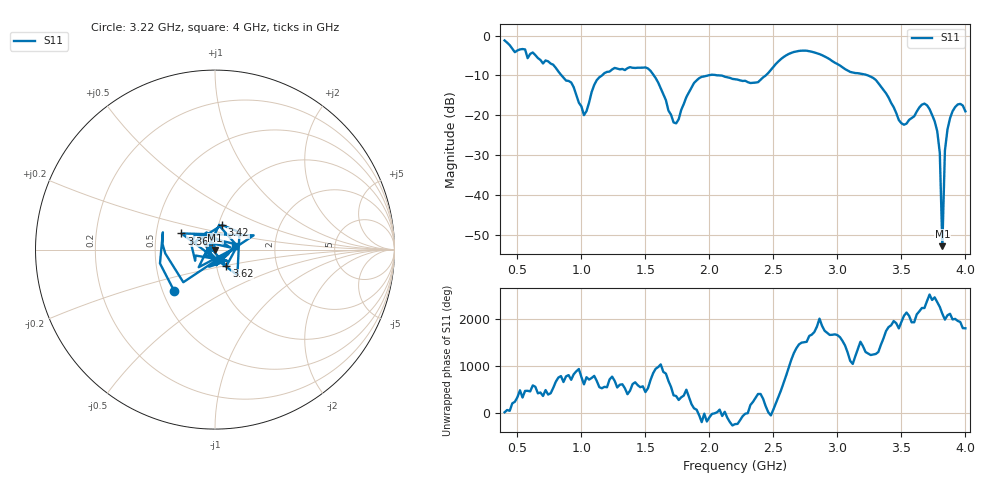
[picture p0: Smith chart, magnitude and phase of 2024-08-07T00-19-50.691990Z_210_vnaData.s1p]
!Created with skrf (http://scikit-rf.org).
# Hz S RI R 50.0
!freq ReS11 ImS11
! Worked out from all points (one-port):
!   181 points, 400 MHz to 4 GHz, reference 50 ohm
!   lowest |S11| = -52.9 dB at 3.82 GHz (marker M1), VSWR 1.00, Z = 50.2 - j0.157 ohm
!   |S11| at or under -10 dB: 1.566 GHz to 1.988 GHz (421.9 MHz wide, 23.7 % of centre); 2.087 GHz to 2.44 GHz (352.7 MHz wide, 15.6 % of centre); 3.24 GHz to end of sweep (the widest 3 of 4)
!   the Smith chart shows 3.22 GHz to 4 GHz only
!   S11 on the Smith chart (normalised r, x): 3.22 GHz: 0.57, -0.30; 3.36 GHz: 0.67, +0.13; 3.42 GHz: 1.04, +0.29; 3.62 GHz: 1.11, -0.21; 4 GHz: 1.25, +0.05
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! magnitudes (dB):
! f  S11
! 400 MHz  -1.2
! 860 MHz  -10.5
! 920 MHz  -11.7
! 1.02 GHz  -20.0
! 1.12 GHz  -11.2
! 1.3 GHz  -8.4
! 1.52 GHz  -8.2
! 1.72 GHz  -21.8
! 1.76 GHz  -21.0
! 1.92 GHz  -10.7
! 2.2 GHz  -11.0
! 2.38 GHz  -11.7
! 2.66 GHz  -4.1
! 3.1 GHz  -9.1
! 3.22 GHz  -9.8
! 3.36 GHz  -13.6
! 3.42 GHz  -16.9
! 3.5 GHz  -22.0
! 3.56 GHz  -21.2
! 3.62 GHz  -19.1
! 3.7 GHz  -17.5
! 3.78 GHz  -24.0
! 3.8 GHz  -29.4
! 3.82 GHz  -52.9
! 3.84 GHz  -28.9
! 3.86 GHz  -23.5
! 3.94 GHz  -17.3
! 4 GHz  -19.0
